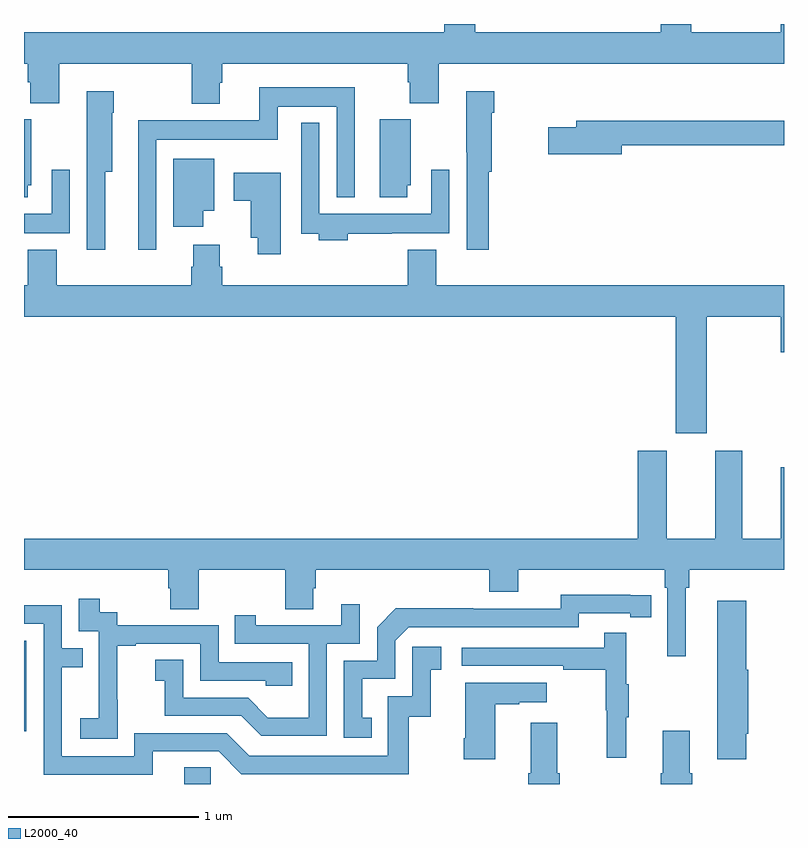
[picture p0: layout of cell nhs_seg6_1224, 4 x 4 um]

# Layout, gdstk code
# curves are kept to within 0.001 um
import gdstk
lib = gdstk.Library(unit=1e-6, precision=1e-09)
def R(c, l, rs):  # rectangles x0, y0, x1, y1
    for r in rs: c.add(gdstk.rectangle(r[:2], r[2:], *l))
def P(c, l, *ps):  # polygons
    for p in ps: c.add(gdstk.Polygon(p, *l))
L2000_40 = (2000, 40)

nhs_seg6_1224 = lib.new_cell('nhs_seg6_1224')
R(nhs_seg6_1224, L2000_40, [(185.843,987.5,185.982,987.587), (185,987.777,185.013,988.254)])
P(nhs_seg6_1224, L2000_40, [(186.031,991.191),(186.044,991.191),(186.044,991.292),(187.019,991.292),(187.019,991.193),(187.031,991.193),(187.031,991.084),(187.184,991.084),(187.184,991.292),(189,991.292),(189,991.5),(188.984,991.5),(188.984,991.456),(188.511,991.456),(188.511,991.5),(188.351,991.5),(188.351,991.456),(187.376,991.456),(187.376,991.5),(187.211,991.5),(187.211,991.456),(185,991.456),(185,991.292),(185.021,991.292),(185.021,991.193),(185.033,991.193),(185.033,991.084),(185.186,991.084),(185.186,991.292),(185.884,991.292),(185.884,991.079),(186.031,991.079)],
  [(185.697,990.89),(186.336,990.89),(186.336,991.064),(186.645,991.064),(186.645,990.587),(186.742,990.587),(186.742,991.168),(186.239,991.168),(186.239,990.994),(185.6,990.994),(185.6,990.312),(185.697,990.312)],
  [(187.445,990.722),(187.462,990.722),(187.462,991.034),(187.475,991.034),(187.475,991.147),(187.328,991.147),(187.328,990.826),(187.329,990.826),(187.329,990.312),(187.445,990.312)],
  [(185.428,990.722),(185.464,990.722),(185.464,991.034),(185.472,991.034),(185.472,991.147),(185.33,991.147),(185.33,990.826),(185.331,990.826),(185.331,990.312),(185.428,990.312)],
  [(185.02,990.651),(185.038,990.651),(185.038,990.999),(185,990.999),(185,990.588),(185.02,990.588)],
  [(187.018,990.651),(187.036,990.651),(187.036,990.999),(186.872,990.999),(186.872,990.588),(187.018,990.588)],
  [(188.146,990.862),(189,990.862),(189,990.991),(187.907,990.991),(187.907,990.957),(187.758,990.957),(187.758,990.815),(188.146,990.815)],
  [(186.704,990.396),(186.935,990.396),(186.935,990.398),(187.239,990.398),(187.239,990.733),(187.143,990.733),(187.143,990.502),(186.555,990.502),(186.555,990.979),(186.459,990.979),(186.459,990.396),(186.551,990.396),(186.551,990.362),(186.704,990.362)],
  [(185.944,990.518),(186.001,990.518),(186.001,990.79),(185.786,990.79),(185.786,990.432),(185.944,990.432)],
  [(185.241,990.733),(185.145,990.733),(185.145,990.502),(185,990.502),(185,990.398),(185.241,990.398)],
  [(186.352,990.718),(186.105,990.718),(186.105,990.571),(186.194,990.571),(186.194,990.374),(186.23,990.374),(186.23,990.288),(186.352,990.288)],
  [(188.593,989.96),(188.984,989.96),(188.984,989.772),(189,989.772),(189,990.124),(187.171,990.124),(187.171,990.313),(187.019,990.313),(187.019,990.124),(186.044,990.124),(186.044,990.222),(186.031,990.222),(186.031,990.337),(185.891,990.337),(185.891,990.222),(185.879,990.222),(185.879,990.124),(185.173,990.124),(185.173,990.313),(185.021,990.313),(185.021,990.124),(185,990.124),(185,989.96),(188.429,989.96),(188.429,989.346),(188.593,989.346)],
  [(188.482,988.532),(188.501,988.532),(188.501,988.628),(189,988.628),(189,989.167),(188.984,989.167),(188.984,988.792),(188.779,988.792),(188.779,989.254),(188.639,989.254),(188.639,988.792),(188.383,988.792),(188.383,989.254),(188.231,989.254),(188.231,988.792),(185,988.792),(185,988.628),(185.759,988.628),(185.759,988.53),(185.771,988.53),(185.771,988.42),(185.919,988.42),(185.919,988.628),(186.376,988.628),(186.376,988.42),(186.523,988.42),(186.523,988.53),(186.536,988.53),(186.536,988.628),(187.448,988.628),(187.448,988.511),(187.6,988.511),(187.6,988.628),(188.372,988.628),(188.372,988.532),(188.385,988.532),(188.385,988.173),(188.482,988.173)],
  [(186.83,987.849),(186.781,987.849),(186.781,988.053),(186.954,988.053),(186.954,988.254),(187.026,988.326),(187.92,988.326),(187.92,988.398),(188.192,988.398),(188.192,988.378),(188.3,988.378),(188.3,988.494),(187.824,988.495),(187.824,988.422),(187.364,988.422),(187.364,988.424),(186.956,988.424),(186.858,988.326),(186.858,988.149),(186.684,988.149),(186.684,987.744),(186.83,987.744)],
  [(185.493,987.943),(185.492,987.943),(185.492,988.227),(185.587,988.227),(185.587,988.239),(185.928,988.239),(185.928,988.044),(186.273,988.044),(186.273,988.017),(186.413,988.017),(186.413,988.14),(186.024,988.14),(186.024,988.335),(185.49,988.335),(185.49,988.404),(185.398,988.404),(185.398,988.474),(185.289,988.474),(185.289,988.305),(185.394,988.305),(185.394,988.076),(185.393,988.076),(185.393,987.847),(185.295,987.847),(185.295,987.737),(185.493,987.737)],
  [(188.802,987.765),(188.812,987.765),(188.812,988.101),(188.802,988.101),(188.802,988.465),(188.648,988.465),(188.648,987.63),(188.802,987.63)],
  [(186.594,988.239),(186.768,988.239),(186.768,988.447),(186.671,988.447),(186.671,988.335),(186.22,988.335),(186.22,988.387),(186.109,988.387),(186.109,988.239),(186.498,988.239),(186.498,987.85),(186.284,987.85),(186.18,987.954),(185.838,987.954),(185.838,988.153),(185.691,988.153),(185.691,988.043),(185.74,988.043),(185.74,987.858),(186.143,987.858),(186.248,987.753),(186.594,987.753)],
  [(185.677,987.672),(186.024,987.672),(186.144,987.552),(187.024,987.552),(187.024,987.855),(187.142,987.855),(187.142,988.101),(187.195,988.101),(187.195,988.222),(187.044,988.222),(187.044,987.963),(186.915,987.963),(186.915,987.648),(186.186,987.648),(186.066,987.768),(185.58,987.768),(185.58,987.645),(185.199,987.645),(185.199,988.114),(185.309,988.114),(185.309,988.215),(185.199,988.215),(185.199,988.44),(185,988.44),(185,988.344),(185.103,988.344),(185.103,987.549),(185.677,987.549)],
  [(188.171,987.851),(188.182,987.851),(188.182,988.025),(188.171,988.025),(188.171,988.297),(188.053,988.297),(188.053,988.218),(187.305,988.218),(187.305,988.122),(187.837,988.122),(187.837,988.102),(188.061,988.102),(188.061,987.888),(188.068,987.888),(188.068,987.639),(188.171,987.639)],
  [(187.48,987.919),(187.607,987.919),(187.607,987.929),(187.75,987.929),(187.75,988.033),(187.322,988.033),(187.322,987.742),(187.315,987.742),(187.315,987.63),(187.48,987.63)],
  [(187.82,987.556),(187.807,987.556),(187.807,987.823),(187.667,987.823),(187.667,987.556),(187.655,987.556),(187.655,987.5),(187.82,987.5)],
  [(188.516,987.556),(188.503,987.556),(188.503,987.781),(188.363,987.781),(188.363,987.556),(188.351,987.556),(188.351,987.5),(188.516,987.5)])

lib.write_gds('nhs_seg6_1224.gds')
